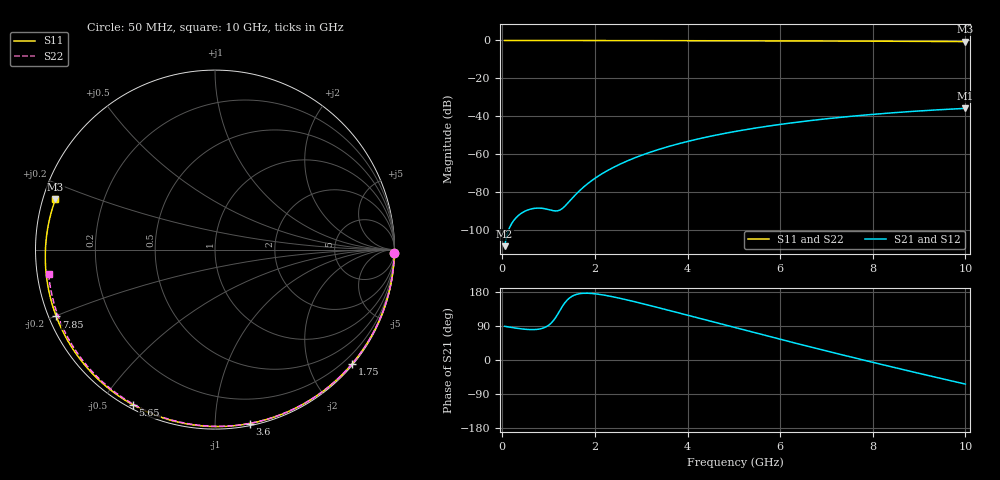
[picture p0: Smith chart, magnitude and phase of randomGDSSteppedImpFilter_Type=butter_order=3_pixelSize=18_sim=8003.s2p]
! freq	dB(S11)	phase(S11)	dB(S12)	phase(S12)
!  dB(S21)	phase(S21)	dB(S22)	phase(S22)
!S-par simulation data
#  GHz  S  DB  R 50
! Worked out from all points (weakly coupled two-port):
!   200 points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, 50 MHz to 10 GHz, reference 50 ohm
!   highest |S21| = -35.88 dB at 10 GHz (marker M1); lowest = -108.6 dB at 50 MHz (marker M2)
!   lowest |S11| = -0.6 dB at 10 GHz (marker M3), VSWR 28.54, Z = 1.79 + j7.66 ohm
!   |S11| at or under -10 dB: nowhere
!   |S22| runs from -0.6 to 0.0 dB; largest |S21 - S12| = 0
!   S11 on the Smith chart (normalised r, x): 50 MHz: open; 1.75 GHz: 0.03, -2.77; 3.6 GHz: 0.01, -1.22; 5.65 GHz: 0.02, -0.60; 7.85 GHz: 0.02, -0.20; 10 GHz: 0.04, +0.15
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0.05  -0.00 -1.1  -108.64 88.9  -108.64 88.9  -0.00 -0.9
0.45  -0.02 -10.4  -90.68 81.6  -90.68 81.6  -0.01 -8.8
0.8  -0.02 -18.4  -88.54 81.7  -88.54 81.7  -0.02 -15.6
1.2  -0.03 -27.5  -89.94 121.5  -89.94 121.5  -0.03 -23.3
1.6  -0.05 -36.4  -80.99 173.0  -80.99 173.0  -0.04 -30.9
1.65  -0.05 -37.6  -79.78 174.5  -79.78 174.5  -0.04 -31.8
1.75  -0.05 -39.8  -77.54 176.0  -77.54 176.0  -0.04 -33.7
2.05  -0.06 -46.3  -72.00 174.0  -72.00 174.0  -0.05 -39.3
2.25  -0.06 -50.7  -69.01 170.1  -69.01 170.1  -0.05 -43.0
2.45  -0.07 -55.0  -66.43 165.2  -66.43 165.2  -0.06 -46.7
2.9  -0.08 -64.4  -61.62 152.5  -61.62 152.5  -0.07 -54.9
3.4  -0.10 -74.7  -57.39 137.2  -57.39 137.2  -0.08 -63.9
3.6  -0.10 -78.8  -55.94 130.9  -55.94 130.9  -0.09 -67.4
4.3  -0.13 -92.5  -51.62 108.6  -51.62 108.6  -0.11 -79.5
5.05  -0.16 -106.8  -47.97 84.7  -47.97 84.7  -0.14 -92.1
5.65  -0.19 -117.8  -45.57 65.7  -45.57 65.7  -0.17 -101.9
6.7  -0.26 -136.7  -42.18 33.1  -42.18 33.1  -0.23 -118.6
7.3  -0.31 -147.3  -40.61 14.8  -40.61 14.8  -0.27 -128.1
7.85  -0.36 -157.2  -39.35 -1.7  -39.35 -1.7  -0.32 -136.7
8.35  -0.41 -166.2  -38.35 -16.4  -38.35 -16.4  -0.37 -144.6
9.2  -0.51 178.1  -36.93 -41.0  -36.93 -41.0  -0.46 -158.3
10  -0.61 162.6  -35.88 -63.5  -35.88 -63.5  -0.56 -171.7
